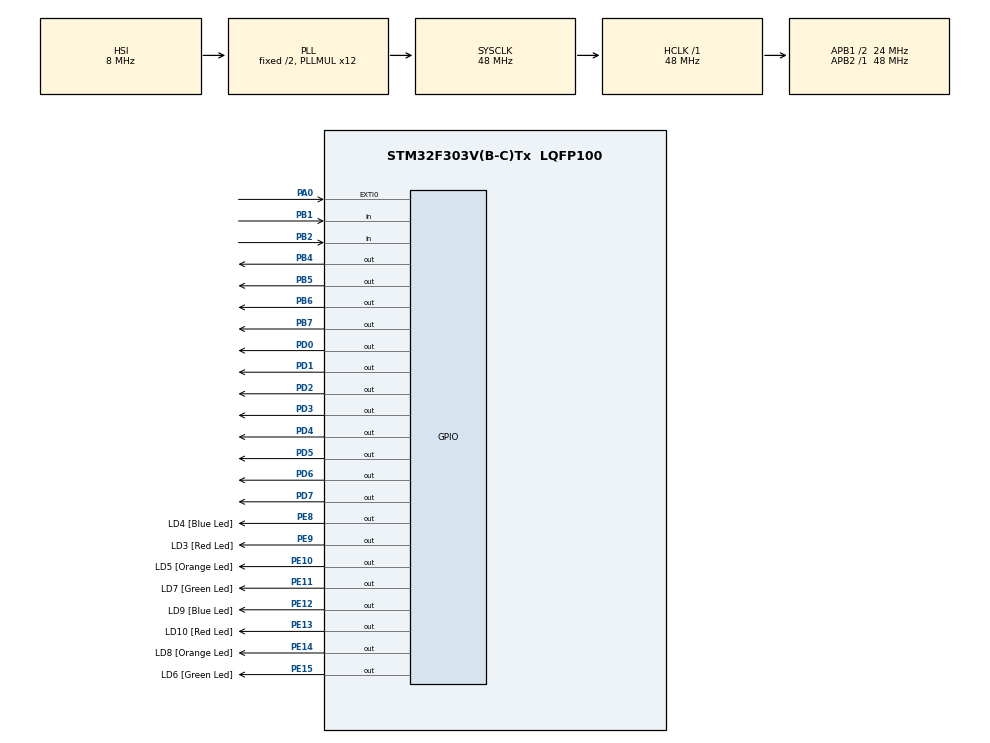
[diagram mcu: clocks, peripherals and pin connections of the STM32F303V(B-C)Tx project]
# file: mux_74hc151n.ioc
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Mcu.Family=STM32F3
Mcu.Name=STM32F303V(B-C)Tx
Mcu.Package=LQFP100
NVIC.EXTI0_IRQn=true\:0\:0\:false\:false\:true\:true\:true
NVIC.PriorityGroup=NVIC_PRIORITYGROUP_0
PA0.Signal=GPXTI0
PB1.Signal=GPIO_Input
PB2.Signal=GPIO_Input
PB4.GPIO_PuPd=GPIO_PULLDOWN
PB4.GPIO_Speed=GPIO_SPEED_FREQ_LOW
PB4.Signal=GPIO_Output
PB5.GPIO_PuPd=GPIO_PULLDOWN
PB5.GPIO_Speed=GPIO_SPEED_FREQ_LOW
PB5.Signal=GPIO_Output
PB6.GPIO_FM6=__NULL
PB6.GPIO_Speed=GPIO_SPEED_FREQ_MEDIUM
PB6.PinState=GPIO_PIN_RESET
PB6.Signal=GPIO_Output
PB7.GPIO_FM6=__NULL
PB7.GPIO_Speed=GPIO_SPEED_FREQ_MEDIUM
PB7.PinState=GPIO_PIN_RESET
PB7.Signal=GPIO_Output
PD0.GPIO_PuPd=GPIO_PULLDOWN
PD0.GPIO_Speed=GPIO_SPEED_FREQ_MEDIUM
PD0.PinState=GPIO_PIN_RESET
PD0.Signal=GPIO_Output
PD1.GPIO_PuPd=GPIO_PULLDOWN
PD1.GPIO_Speed=GPIO_SPEED_FREQ_MEDIUM
PD1.PinState=GPIO_PIN_RESET
PD1.Signal=GPIO_Output
PD2.GPIO_PuPd=GPIO_PULLDOWN
PD2.GPIO_Speed=GPIO_SPEED_FREQ_MEDIUM
PD2.PinState=GPIO_PIN_RESET
PD2.Signal=GPIO_Output
PD3.GPIO_PuPd=GPIO_PULLDOWN
PD3.GPIO_Speed=GPIO_SPEED_FREQ_MEDIUM
PD3.PinState=GPIO_PIN_RESET
PD3.Signal=GPIO_Output
PD4.GPIO_PuPd=GPIO_PULLDOWN
PD4.GPIO_Speed=GPIO_SPEED_FREQ_MEDIUM
PD4.PinState=GPIO_PIN_RESET
PD4.Signal=GPIO_Output
PD5.GPIO_PuPd=GPIO_PULLDOWN
PD5.GPIO_Speed=GPIO_SPEED_FREQ_MEDIUM
PD5.PinState=GPIO_PIN_RESET
PD5.Signal=GPIO_Output
PD6.GPIO_PuPd=GPIO_PULLDOWN
PD6.GPIO_Speed=GPIO_SPEED_FREQ_MEDIUM
PD6.PinState=GPIO_PIN_RESET
PD6.Signal=GPIO_Output
PD7.GPIO_PuPd=GPIO_PULLDOWN
PD7.GPIO_Speed=GPIO_SPEED_FREQ_MEDIUM
PD7.PinState=GPIO_PIN_RESET
PD7.Signal=GPIO_Output
PE10.GPIO_Label=LD5 [Orange Led]
PE10.GPIO_ModeDefaultOutputPP=GPIO_MODE_OUTPUT_PP
PE10.GPIO_PuPd=GPIO_NOPULL
PE10.GPIO_Speed=GPIO_SPEED_FREQ_LOW
PE10.Signal=GPIO_Output
PE11.GPIO_Label=LD7 [Green Led]
PE11.GPIO_ModeDefaultOutputPP=GPIO_MODE_OUTPUT_PP
PE11.GPIO_PuPd=GPIO_NOPULL
PE11.GPIO_Speed=GPIO_SPEED_FREQ_LOW
PE11.Signal=GPIO_Output
PE12.GPIO_Label=LD9 [Blue Led]
PE12.GPIO_ModeDefaultOutputPP=GPIO_MODE_OUTPUT_PP
PE12.GPIO_PuPd=GPIO_NOPULL
PE12.GPIO_Speed=GPIO_SPEED_FREQ_LOW
PE12.Signal=GPIO_Output
PE13.GPIO_Label=LD10 [Red Led]
PE13.GPIO_ModeDefaultOutputPP=GPIO_MODE_OUTPUT_PP
PE13.GPIO_PuPd=GPIO_NOPULL
PE13.GPIO_Speed=GPIO_SPEED_FREQ_LOW
PE13.Signal=GPIO_Output
PE14.GPIO_Label=LD8 [Orange Led]
PE14.GPIO_ModeDefaultOutputPP=GPIO_MODE_OUTPUT_PP
PE14.GPIO_PuPd=GPIO_NOPULL
PE14.GPIO_Speed=GPIO_SPEED_FREQ_LOW
PE14.Signal=GPIO_Output
PE15.GPIO_Label=LD6 [Green Led]
PE15.GPIO_ModeDefaultOutputPP=GPIO_MODE_OUTPUT_PP
PE15.GPIO_PuPd=GPIO_NOPULL
PE15.GPIO_Speed=GPIO_SPEED_FREQ_LOW
PE15.Signal=GPIO_Output
PE8.GPIO_Label=LD4 [Blue Led]
PE8.GPIO_ModeDefaultOutputPP=GPIO_MODE_OUTPUT_PP
PE8.GPIO_PuPd=GPIO_NOPULL
PE8.GPIO_Speed=GPIO_SPEED_FREQ_LOW
PE8.Signal=GPIO_Output
PE9.GPIO_Label=LD3 [Red Led]
PE9.GPIO_ModeDefaultOutputPP=GPIO_MODE_OUTPUT_PP
PE9.GPIO_PuPd=GPIO_NOPULL
PE9.GPIO_Speed=GPIO_SPEED_FREQ_LOW
PE9.Signal=GPIO_Output
ProjectManager.HeapSize=0x200
ProjectManager.StackSize=0x400
ProjectManager.TargetToolchain=SW4STM32
RCC.AHBFreq_Value=48000000
RCC.APB1CLKDivider=RCC_HCLK_DIV2
RCC.APB1Freq_Value=24000000
RCC.APB1TimFreq_Value=48000000
RCC.APB2Freq_Value=48000000
RCC.APB2TimFreq_Value=48000000
RCC.CortexFreq_Value=48000000
RCC.HCLKFreq_Value=48000000
RCC.HSE_VALUE=8000000
RCC.HSI_VALUE=8000000
RCC.LSE_VALUE=32768
RCC.PLLMUL=RCC_PLL_MUL12
RCC.SYSCLKFreq_VALUE=48000000
RCC.SYSCLKSourceVirtual=RCC_SYSCLKSOURCE_PLLCLK
RCC.USBFreq_Value=48000000
board=STM32F3DISCOVERY

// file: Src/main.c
/* USER CODE BEGIN Header */
/**
  ******************************************************************************
  * @file           : main.c
  * @brief          : Main program body
  ******************************************************************************
  * @attention
  *
  * <h2><center>&copy; Copyright (c) 2020 STMicroelectronics.
  * All rights reserved.</center></h2>
  *
  * This software component is licensed by ST under BSD 3-Clause license,
  * the "License"; You may not use this file except in compliance with the
  * License. You may obtain a copy of the License at:
  *                        opensource.org/licenses/BSD-3-Clause
  *
  ******************************************************************************
  */
/* USER CODE END Header */

#include "main.h"
#include "gpio.h"

/* USER CODE BEGIN Includes */
//#include "mux_3_8.h"
#include <stdbool.h>
/* USER CODE END Includes */

/* USER CODE BEGIN PTD */
#define TEST_DELAY 1
/* USER CODE END PTD */

void SystemClock_Config(void);

/* USER CODE BEGIN 0 */
void set_mode(uint8_t mode) {
    switch (mode) {
        case (uint8_t) 0:
            HAL_GPIO_WritePin(GPIOB, GPIO_PIN_6, GPIO_PIN_RESET);
            HAL_GPIO_WritePin(GPIOB, GPIO_PIN_7, GPIO_PIN_RESET);
            break;
        case (uint8_t) 1:
            HAL_GPIO_WritePin(GPIOB, GPIO_PIN_6, GPIO_PIN_SET);
            HAL_GPIO_WritePin(GPIOB, GPIO_PIN_7, GPIO_PIN_RESET);
            break;
        case (uint8_t) 2:
            HAL_GPIO_WritePin(GPIOB, GPIO_PIN_6, GPIO_PIN_RESET);
            HAL_GPIO_WritePin(GPIOB, GPIO_PIN_7, GPIO_PIN_SET);
            break;
        case (uint8_t) 3:
            HAL_GPIO_WritePin(GPIOB, GPIO_PIN_6, GPIO_PIN_SET);
            HAL_GPIO_WritePin(GPIOB, GPIO_PIN_7, GPIO_PIN_SET);
            break;
        default:
            break;
    }
}

void set_bit_to(GPIO_TypeDef *GPIOx, uint8_t pos, bool val) {
    if (val) {
        GPIOx->ODR |= 1 << pos;
    } else {
        GPIOx->ODR &= ~(1 << pos);
    }
}

bool test_mux_mode_and_state(uint8_t mode, bool selected_pin) {
    set_mode(mode);
    for (uint8_t state = 0; state < 0b1111; ++state) {
        GPIOD->ODR = state | (state << 4);
        set_bit_to(GPIOD, mode, selected_pin);
        set_bit_to(GPIOD, mode + 4, selected_pin);

        HAL_Delay(TEST_DELAY);
        if (HAL_GPIO_ReadPin(GPIOB, GPIO_PIN_1) != selected_pin ||
            HAL_GPIO_ReadPin(GPIOB, GPIO_PIN_2) != selected_pin) {
            return false;
        }
    }
    return true;
}

void TEST_MUX_72HC153N() {
    HAL_GPIO_WritePin(GPIOE, GPIO_PIN_11, GPIO_PIN_RESET); // works
    HAL_GPIO_WritePin(GPIOE, GPIO_PIN_9, GPIO_PIN_RESET);  // not works
    HAL_GPIO_WritePin(GPIOE, GPIO_PIN_10, GPIO_PIN_SET);   // progress

    for (uint8_t mode = 0; mode < 4; ++mode) {
        if (!test_mux_mode_and_state(mode, true) || !test_mux_mode_and_state(mode, false)) {
            HAL_GPIO_WritePin(GPIOE, GPIO_PIN_9, GPIO_PIN_SET);
            HAL_GPIO_WritePin(GPIOE, GPIO_PIN_10, GPIO_PIN_RESET);
            return;
        }
    }

    HAL_GPIO_WritePin(GPIOE, GPIO_PIN_10, GPIO_PIN_RESET);
    HAL_GPIO_WritePin(GPIOE, GPIO_PIN_11, GPIO_PIN_SET);
}

volatile bool TEST_ITERATION = false;
/* USER CODE END 0 */

int main(void)
{

  /* MCU Configuration--------------------------------------------------------*/

  /* Reset of all peripherals, Initializes the Flash interface and the Systick. */
  HAL_Init();

  /* Configure the system clock */
  SystemClock_Config();

  /* Initialize all configured peripherals */
  MX_GPIO_Init();

  /* Infinite loop */
  /* USER CODE BEGIN WHILE */
    while (1) {
        HAL_GPIO_TogglePin(GPIOE, GPIO_PIN_8);
        HAL_Delay(500);
    /* USER CODE END WHILE */

    /* USER CODE BEGIN 3 */
        if (TEST_ITERATION) {
            TEST_MUX_72HC153N();
            TEST_ITERATION = false;
        }

//        HAL_GPIO_WritePin(GPIOE, GPIO_PIN_14, HAL_GPIO_ReadPin(GPIOB, GPIO_PIN_1));
//        HAL_GPIO_WritePin(GPIOE, GPIO_PIN_15, HAL_GPIO_ReadPin(GPIOB, GPIO_PIN_2));
    }
  /* USER CODE END 3 */
}

void SystemClock_Config(void)
{
  RCC_OscInitTypeDef RCC_OscInitStruct = {0};
  RCC_ClkInitTypeDef RCC_ClkInitStruct = {0};

  /** Initializes the CPU, AHB and APB busses clocks
  */
  RCC_OscInitStruct.OscillatorType = RCC_OSCILLATORTYPE_HSI;
  RCC_OscInitStruct.HSIState = RCC_HSI_ON;
  RCC_OscInitStruct.HSICalibrationValue = RCC_HSICALIBRATION_DEFAULT;
  RCC_OscInitStruct.PLL.PLLState = RCC_PLL_ON;
  RCC_OscInitStruct.PLL.PLLSource = RCC_PLLSOURCE_HSI;
  RCC_OscInitStruct.PLL.PLLMUL = RCC_PLL_MUL12;
  if (HAL_RCC_OscConfig(&RCC_OscInitStruct) != HAL_OK)
  {
    Error_Handler();
  }
  /** Initializes the CPU, AHB and APB busses clocks
  */
  RCC_ClkInitStruct.ClockType = RCC_CLOCKTYPE_HCLK|RCC_CLOCKTYPE_SYSCLK
                              |RCC_CLOCKTYPE_PCLK1|RCC_CLOCKTYPE_PCLK2;
  RCC_ClkInitStruct.SYSCLKSource = RCC_SYSCLKSOURCE_PLLCLK;
  RCC_ClkInitStruct.AHBCLKDivider = RCC_SYSCLK_DIV1;
  RCC_ClkInitStruct.APB1CLKDivider = RCC_HCLK_DIV2;
  RCC_ClkInitStruct.APB2CLKDivider = RCC_HCLK_DIV1;

  if (HAL_RCC_ClockConfig(&RCC_ClkInitStruct, FLASH_LATENCY_1) != HAL_OK)
  {
    Error_Handler();
  }
}

/* USER CODE BEGIN 4 */
void HAL_GPIO_EXTI_Callback(uint16_t GPIO_Pin) {
    if (GPIO_Pin == GPIO_PIN_0) {
        static uint32_t last_change_tick;
        if (HAL_GetTick() - last_change_tick < 50) {
            return;
        }
        last_change_tick = HAL_GetTick();

        TEST_ITERATION = true;
    }
}
/* USER CODE END 4 */

void Error_Handler(void)
{
}

/************************ (C) COPYRIGHT STMicroelectronics *****END OF FILE****/
